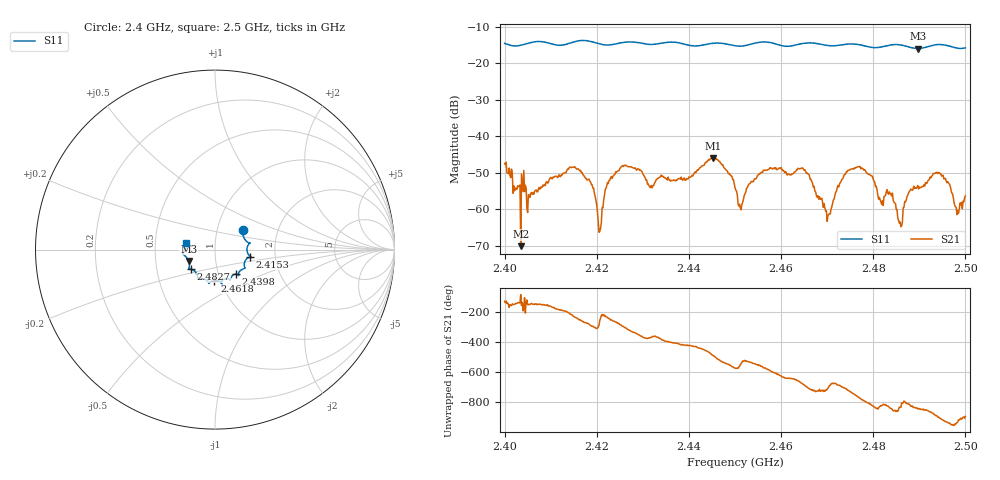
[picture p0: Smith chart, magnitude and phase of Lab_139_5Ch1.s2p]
# Hz S RI R 50
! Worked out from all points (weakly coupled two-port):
!   601 points, 2.4 GHz to 2.5 GHz, reference 50 ohm
!   highest |S21| = -45.89 dB at 2.4452 GHz (marker M1); lowest = -70.1 dB at 2.4035 GHz (marker M2)
!   lowest |S11| = -15.9 dB at 2.4897 GHz (marker M3), VSWR 1.38, Z = 36.9 - j4.82 ohm
!   |S11| at or under -10 dB: start of sweep to end of sweep
!   S12 and S22 are empty: the file has one direction only
!   S11 on the Smith chart (normalised r, x): 2.4 GHz: 1.33, +0.29; 2.4153 GHz: 1.48, -0.12; 2.4398 GHz: 1.21, -0.34; 2.4618 GHz: 0.94, -0.33; 2.4827 GHz: 0.75, -0.17; 2.5 GHz: 0.72, +0.06
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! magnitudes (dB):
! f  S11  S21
! 2.4 GHz  -14.5  -47.5
! 2.4035 GHz  -15.0  -70.1
! 2.4153 GHz  -14.0  -48.5
! 2.4167 GHz  -13.7  -49.9
! 2.4207 GHz  -14.6  -66.0
! 2.4255 GHz  -14.3  -48.2
! 2.4333 GHz  -14.6  -51.5
! 2.4398 GHz  -15.0  -51.7
! 2.4452 GHz  -14.5  -45.9
! 2.45 GHz  -15.1  -54.1
! 2.4512 GHz  -15.3  -59.7
! 2.456 GHz  -14.1  -49.9
! 2.4618 GHz  -15.3  -50.4
! 2.4667 GHz  -14.4  -52.4
! 2.4702 GHz  -15.1  -61.8
! 2.4765 GHz  -14.8  -48.5
! 2.4827 GHz  -15.2  -56.2
! 2.4833 GHz  -15.0  -55.9
! 2.4858 GHz  -14.9  -63.5
! 2.4897 GHz  -15.9  -53.5
! 2.4942 GHz  -14.8  -49.9
! 2.5 GHz  -15.7  -56.3
